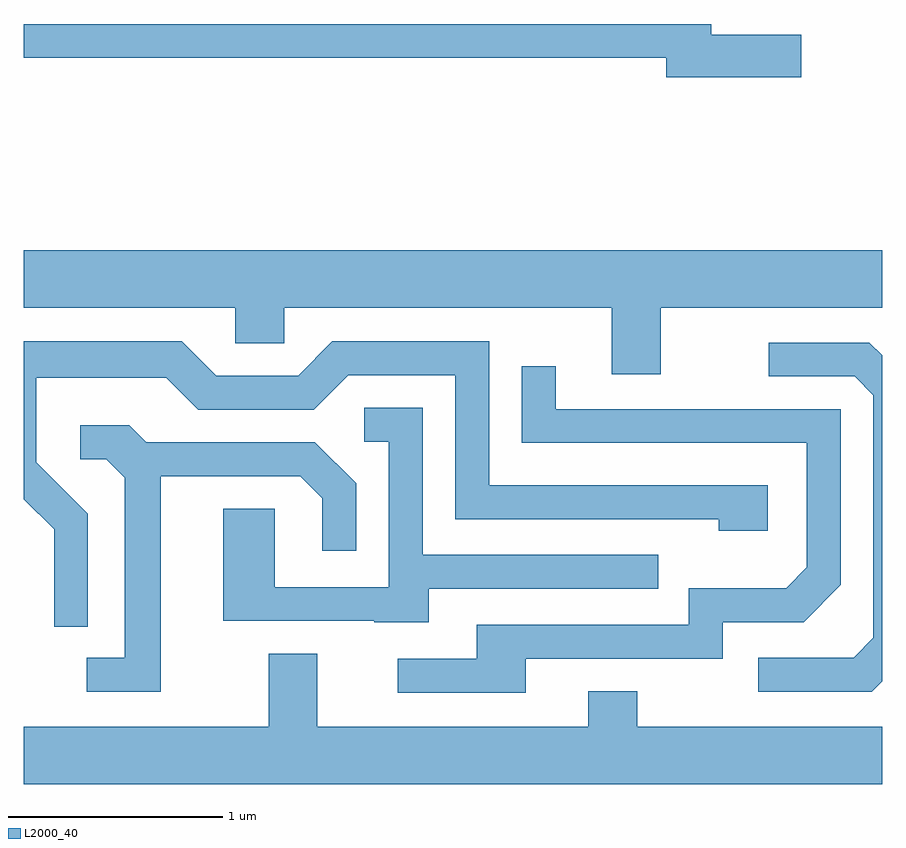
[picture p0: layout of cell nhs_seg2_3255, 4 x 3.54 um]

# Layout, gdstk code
import gdstk
lib = gdstk.Library(unit=1e-6, precision=1e-09)
def P(c, l, *ps):  # polygons
    for p in ps: c.add(gdstk.Polygon(p, *l))
L2000_40 = (2000, 40)

nhs_seg2_3255 = lib.new_cell('nhs_seg2_3255')
P(nhs_seg2_3255, L2000_40, [(283.234,1111.749),(282.814,1111.749),(282.814,1111.799),(279.611,1111.799),(279.611,1111.641),(282.606,1111.641),(282.606,1111.551),(283.234,1111.551)],
  [(282.579,1110.476),(283.611,1110.476),(283.611,1110.744),(279.611,1110.744),(279.611,1110.476),(280.596,1110.476),(280.596,1110.311),(280.824,1110.311),(280.824,1110.476),(282.351,1110.476),(282.351,1110.166),(282.579,1110.166)],
  [(279.909,1109.517),(279.669,1109.757),(279.669,1110.151),(280.274,1110.151),(280.424,1110.001),(280.962,1110.001),(281.122,1110.161),(281.621,1110.161),(281.621,1109.491),(282.851,1109.491),(282.851,1109.436),(283.079,1109.436),(283.079,1109.649),(281.779,1109.649),(281.779,1110.319),(281.049,1110.319),(280.889,1110.159),(280.507,1110.159),(280.347,1110.319),(279.611,1110.319),(279.611,1109.584),(279.751,1109.444),(279.751,1108.988),(279.909,1108.988)],
  [(283.611,1108.735),(283.611,1110.255),(283.552,1110.314),(283.083,1110.314),(283.083,1110.156),(283.484,1110.156),(283.571,1110.069),(283.571,1108.937),(283.479,1108.844),(283.033,1108.844),(283.033,1108.686),(283.562,1108.686)],
  [(281.949,1108.841),(282.869,1108.841),(282.869,1109.011),(283.247,1109.011),(283.419,1109.184),(283.419,1110.004),(282.089,1110.004),(282.089,1110.203),(281.931,1110.203),(281.931,1109.846),(283.261,1109.846),(283.261,1109.267),(283.164,1109.169),(282.711,1109.169),(282.711,1108.999),(281.721,1108.999),(281.721,1108.839),(281.353,1108.839),(281.353,1108.681),(281.949,1108.681)],
  [(281.499,1109.166),(282.568,1109.166),(282.568,1109.324),(281.469,1109.324),(281.469,1110.009),(281.198,1110.009),(281.198,1109.851),(281.311,1109.851),(281.311,1109.174),(280.779,1109.174),(280.779,1109.539),(280.541,1109.539),(280.541,1109.016),(281.245,1109.016),(281.245,1109.011),(281.499,1109.011)],
  [(280.249,1109.691),(280.899,1109.691),(281.001,1109.589),(281.001,1109.343),(281.159,1109.343),(281.159,1109.657),(280.967,1109.849),(280.182,1109.849),(280.102,1109.929),(279.873,1109.929),(279.873,1109.771),(279.994,1109.771),(280.081,1109.684),(280.081,1108.844),(279.903,1108.844),(279.903,1108.686),(280.249,1108.686)],
  [(283.611,1108.524),(282.469,1108.524),(282.469,1108.689),(282.241,1108.689),(282.241,1108.524),(280.979,1108.524),(280.979,1108.864),(280.751,1108.864),(280.751,1108.524),(279.611,1108.524),(279.611,1108.256),(283.611,1108.256)])

lib.write_gds('nhs_seg2_3255.gds')
